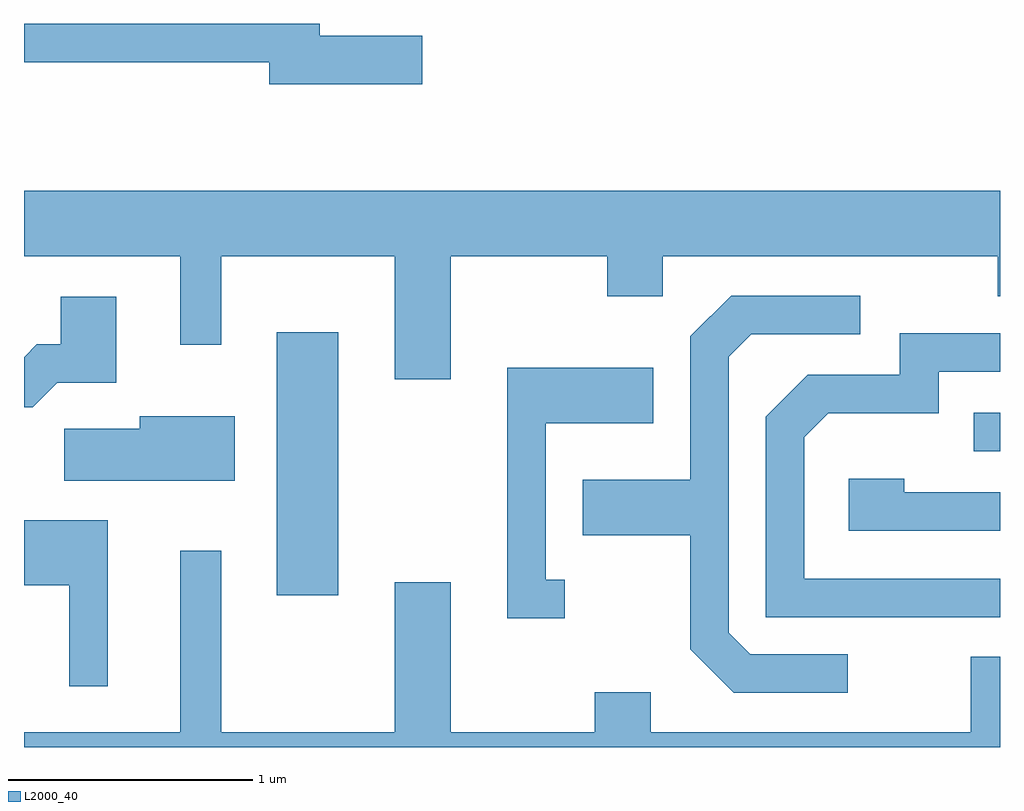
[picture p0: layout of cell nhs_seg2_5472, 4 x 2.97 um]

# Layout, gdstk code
import gdstk
lib = gdstk.Library(unit=1e-6, precision=1e-09)
def R(c, l, rs):  # rectangles x0, y0, x1, y1
    for r in rs: c.add(gdstk.rectangle(r[:2], r[2:], *l))
def P(c, l, *ps):  # polygons
    for p in ps: c.add(gdstk.Polygon(p, *l))
L2000_40 = (2000, 40)

nhs_seg2_5472 = lib.new_cell('nhs_seg2_5472')
R(nhs_seg2_5472, L2000_40, [(346.646,1102.426,346.899,1103.504), (349.503,1103.016,349.611,1103.174)])
P(nhs_seg2_5472, L2000_40, [(347.244,1104.719),(346.824,1104.719),(346.824,1104.769),(345.611,1104.769),(345.611,1104.611),(346.616,1104.611),(346.616,1104.521),(347.244,1104.521)],
  [(347.359,1103.816),(348.001,1103.816),(348.001,1103.651),(348.229,1103.651),(348.229,1103.816),(349.601,1103.816),(349.601,1103.651),(349.611,1103.651),(349.611,1104.084),(345.611,1104.084),(345.611,1103.816),(346.251,1103.816),(346.251,1103.453),(346.419,1103.453),(346.419,1103.816),(347.131,1103.816),(347.131,1103.311),(347.359,1103.311)],
  [(348.988,1102.184),(348.587,1102.184),(348.499,1102.272),(348.499,1103.404),(348.592,1103.496),(349.038,1103.496),(349.038,1103.654),(348.509,1103.654),(348.341,1103.487),(348.341,1102.899),(347.901,1102.899),(347.901,1102.671),(348.341,1102.671),(348.341,1102.204),(348.519,1102.026),(348.988,1102.026)],
  [(345.747,1103.296),(345.989,1103.296),(345.989,1103.649),(345.761,1103.649),(345.761,1103.454),(345.664,1103.454),(345.611,1103.401),(345.611,1103.196),(345.647,1103.196)],
  [(349.611,1102.494),(348.809,1102.494),(348.809,1103.074),(348.907,1103.171),(349.359,1103.171),(349.359,1103.341),(349.611,1103.341),(349.611,1103.499),(349.201,1103.499),(349.201,1103.329),(348.824,1103.329),(348.651,1103.157),(348.651,1102.336),(349.611,1102.336)],
  [(347.828,1102.489),(347.749,1102.489),(347.749,1103.131),(348.189,1103.131),(348.189,1103.359),(347.591,1103.359),(347.591,1102.331),(347.828,1102.331)],
  [(346.474,1103.159),(346.086,1103.159),(346.086,1103.109),(345.776,1103.109),(345.776,1102.896),(346.474,1102.896)],
  [(349.611,1102.849),(349.219,1102.849),(349.219,1102.904),(348.991,1102.904),(348.991,1102.691),(349.611,1102.691)],
  [(345.954,1102.734),(345.611,1102.734),(345.611,1102.466),(345.796,1102.466),(345.796,1102.053),(345.954,1102.053)],
  [(349.611,1102.174),(349.491,1102.174),(349.491,1101.864),(348.179,1101.864),(348.179,1102.029),(347.951,1102.029),(347.951,1101.864),(347.359,1101.864),(347.359,1102.479),(347.131,1102.479),(347.131,1101.864),(346.419,1101.864),(346.419,1102.608),(346.251,1102.608),(346.251,1101.864),(345.611,1101.864),(345.611,1101.802),(349.611,1101.802)])

lib.write_gds('nhs_seg2_5472.gds')
